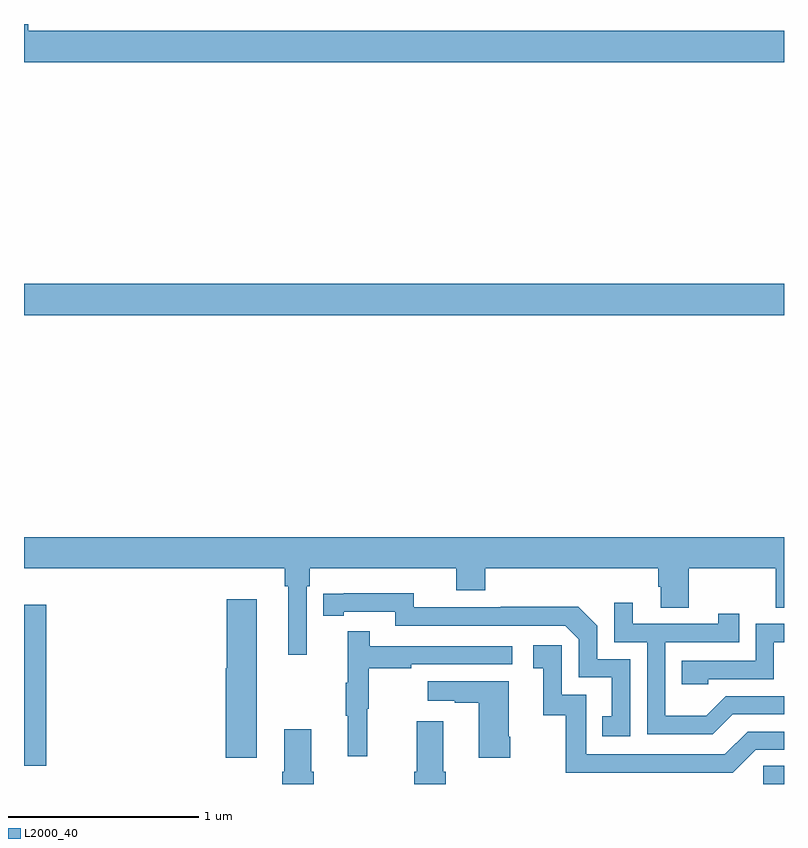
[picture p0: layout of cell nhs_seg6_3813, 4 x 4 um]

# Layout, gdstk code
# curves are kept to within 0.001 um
import gdstk
lib = gdstk.Library(unit=1e-6, precision=1e-09)
def R(c, l, rs):  # rectangles x0, y0, x1, y1
    for r in rs: c.add(gdstk.rectangle(r[:2], r[2:], *l))
def P(c, l, *ps):  # polygons
    for p in ps: c.add(gdstk.Polygon(p, *l))
L2000_40 = (2000, 40)

nhs_seg6_3813 = lib.new_cell('nhs_seg6_3813')
R(nhs_seg6_3813, L2000_40, [(338.892,979.5,339,979.595), (335,981.968,339,982.132)])
P(nhs_seg6_3813, L2000_40, [(339,983.464),(335.023,983.464),(335.023,983.5),(335,983.5),(335,983.3),(339,983.3)],
  [(336.489,980.54),(336.503,980.54),(336.503,980.636),(337.274,980.636),(337.274,980.519),(337.427,980.519),(337.427,980.636),(338.339,980.636),(338.339,980.538),(338.351,980.538),(338.351,980.428),(338.499,980.428),(338.499,980.636),(338.956,980.636),(338.956,980.428),(339,980.428),(339,980.8),(335,980.8),(335,980.636),(336.373,980.636),(336.373,980.54),(336.392,980.54),(336.392,980.181),(336.489,980.181)],
  [(338.19,980.157),(338.016,980.157),(338.016,980.334),(337.918,980.432),(337.51,980.432),(337.51,980.43),(337.05,980.43),(337.05,980.503),(336.574,980.502),(336.574,980.386),(336.682,980.386),(336.682,980.406),(336.954,980.406),(336.954,980.334),(337.848,980.334),(337.92,980.262),(337.92,980.061),(338.093,980.061),(338.093,979.857),(338.044,979.857),(338.044,979.752),(338.19,979.752)],
  [(336.226,980.473),(336.068,980.473),(336.068,980.109),(336.062,980.109),(336.062,979.638),(336.226,979.638)],
  [(338.731,979.866),(339,979.866),(339,979.962),(338.694,979.962),(338.59,979.858),(338.376,979.858),(338.376,980.247),(338.765,980.247),(338.765,980.395),(338.654,980.395),(338.654,980.343),(338.203,980.343),(338.203,980.455),(338.106,980.455),(338.106,980.247),(338.28,980.247),(338.28,979.761),(338.626,979.761)],
  [(335.117,980.443),(335,980.443),(335,980.217),(335.001,980.217),(335.001,979.701),(335,979.701),(335,979.596),(335.117,979.596)],
  [(338.601,980.052),(338.946,980.052),(338.946,980.247),(339,980.247),(339,980.343),(338.85,980.343),(338.85,980.148),(338.461,980.148),(338.461,980.025),(338.601,980.025)],
  [(336.806,979.896),(336.814,979.896),(336.814,980.11),(337.037,980.11),(337.037,980.13),(337.57,980.13),(337.57,980.226),(336.821,980.226),(336.821,980.305),(336.704,980.305),(336.704,980.033),(336.693,980.033),(336.693,979.859),(336.704,979.859),(336.704,979.647),(336.806,979.647)],
  [(338.85,979.68),(339,979.68),(339,979.776),(338.808,979.776),(338.688,979.656),(337.959,979.656),(337.959,979.971),(337.83,979.971),(337.83,980.23),(337.68,980.23),(337.68,980.109),(337.733,980.109),(337.733,979.863),(337.851,979.863),(337.851,979.56),(338.73,979.56)],
  [(337.56,979.75),(337.552,979.75),(337.552,980.041),(337.125,980.041),(337.125,979.937),(337.268,979.937),(337.268,979.927),(337.394,979.927),(337.394,979.638),(337.56,979.638)],
  [(337.22,979.564),(337.207,979.564),(337.207,979.831),(337.067,979.831),(337.067,979.564),(337.055,979.564),(337.055,979.5),(337.22,979.5)],
  [(336.524,979.564),(336.511,979.564),(336.511,979.789),(336.371,979.789),(336.371,979.564),(336.359,979.564),(336.359,979.5),(336.524,979.5)])

lib.write_gds('nhs_seg6_3813.gds')
